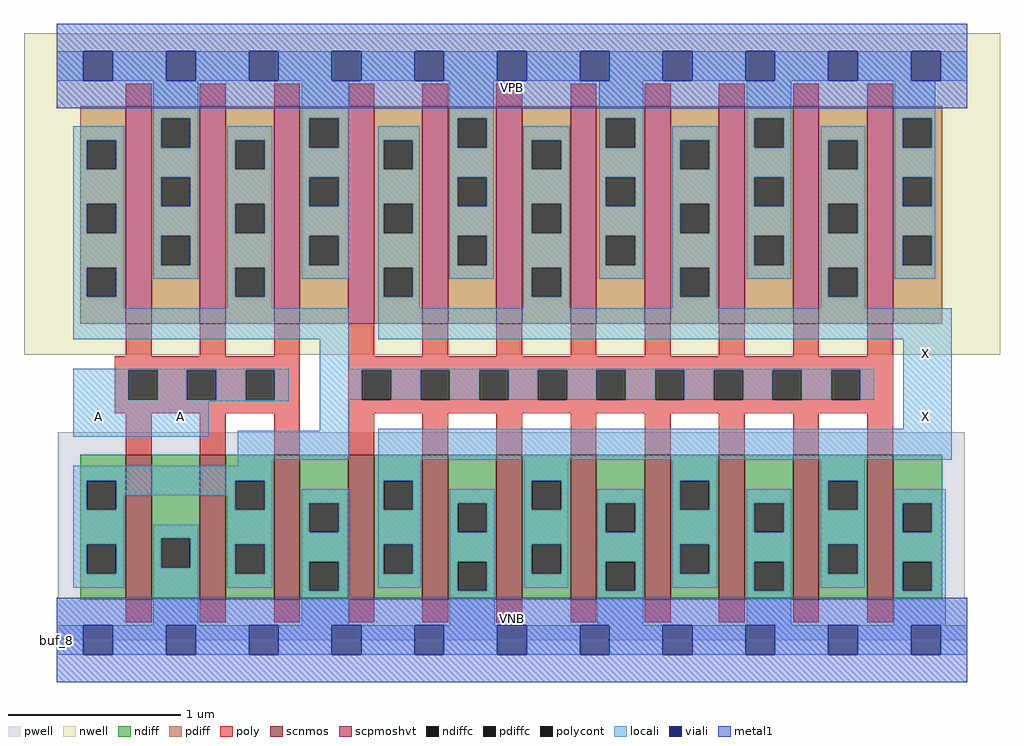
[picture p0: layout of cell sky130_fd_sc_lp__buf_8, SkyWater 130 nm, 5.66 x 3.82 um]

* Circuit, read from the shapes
.subckt sky130_fd_sc_lp__buf_8 A VGND VNB VPB VPWR X
XM1 VGND A n1 VNB sky130_fd_pr__nfet_01v8 w=0.84 l=0.15 m=3
XM2 X n1 VGND VNB sky130_fd_pr__nfet_01v8 w=0.84 l=0.15 m=8
XM3 VPWR A n1 VPB sky130_fd_pr__pfet_01v8_hvt w=1.26 l=0.15 m=3
XM4 X n1 VPWR VPB sky130_fd_pr__pfet_01v8_hvt w=1.26 l=0.15 m=8
.ends

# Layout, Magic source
magic
tech sky130A
magscale 1 2
<< nwell >>
rect -38 331 1094 704
<< pwell >>
rect 1 49 1053 241
rect 0 0 1056 49
<< scnmos >>
rect 80 47 110 215
rect 166 47 196 215
rect 252 47 282 215
rect 338 47 368 215
rect 424 47 454 215
rect 510 47 540 215
rect 596 47 626 215
rect 682 47 712 215
rect 768 47 798 215
rect 854 47 884 215
rect 940 47 970 215
<< scpmoshvt >>
rect 80 367 110 619
rect 166 367 196 619
rect 252 367 282 619
rect 338 367 368 619
rect 424 367 454 619
rect 510 367 540 619
rect 596 367 626 619
rect 682 367 712 619
rect 768 367 798 619
rect 854 367 884 619
rect 940 367 970 619
<< ndiff >>
rect 27 185 80 215
rect 27 151 35 185
rect 69 151 80 185
rect 27 111 80 151
rect 27 77 35 111
rect 69 77 80 111
rect 27 47 80 77
rect 110 118 166 215
rect 110 84 121 118
rect 155 84 166 118
rect 110 47 166 84
rect 196 185 252 215
rect 196 151 207 185
rect 241 151 252 185
rect 196 111 252 151
rect 196 77 207 111
rect 241 77 252 111
rect 196 47 252 77
rect 282 159 338 215
rect 282 125 293 159
rect 327 125 338 159
rect 282 91 338 125
rect 282 57 293 91
rect 327 57 338 91
rect 282 47 338 57
rect 368 185 424 215
rect 368 151 379 185
rect 413 151 424 185
rect 368 111 424 151
rect 368 77 379 111
rect 413 77 424 111
rect 368 47 424 77
rect 454 159 510 215
rect 454 125 465 159
rect 499 125 510 159
rect 454 91 510 125
rect 454 57 465 91
rect 499 57 510 91
rect 454 47 510 57
rect 540 185 596 215
rect 540 151 551 185
rect 585 151 596 185
rect 540 111 596 151
rect 540 77 551 111
rect 585 77 596 111
rect 540 47 596 77
rect 626 159 682 215
rect 626 125 637 159
rect 671 125 682 159
rect 626 91 682 125
rect 626 57 637 91
rect 671 57 682 91
rect 626 47 682 57
rect 712 185 768 215
rect 712 151 723 185
rect 757 151 768 185
rect 712 111 768 151
rect 712 77 723 111
rect 757 77 768 111
rect 712 47 768 77
rect 798 159 854 215
rect 798 125 809 159
rect 843 125 854 159
rect 798 91 854 125
rect 798 57 809 91
rect 843 57 854 91
rect 798 47 854 57
rect 884 185 940 215
rect 884 151 895 185
rect 929 151 940 185
rect 884 111 940 151
rect 884 77 895 111
rect 929 77 940 111
rect 884 47 940 77
rect 970 159 1027 215
rect 970 125 981 159
rect 1015 125 1027 159
rect 970 91 1027 125
rect 970 57 981 91
rect 1015 57 1027 91
rect 970 47 1027 57
<< pdiff >>
rect 27 580 80 619
rect 27 546 35 580
rect 69 546 80 580
rect 27 506 80 546
rect 27 472 35 506
rect 69 472 80 506
rect 27 432 80 472
rect 27 398 35 432
rect 69 398 80 432
rect 27 367 80 398
rect 110 605 166 619
rect 110 571 121 605
rect 155 571 166 605
rect 110 537 166 571
rect 110 503 121 537
rect 155 503 166 537
rect 110 469 166 503
rect 110 435 121 469
rect 155 435 166 469
rect 110 367 166 435
rect 196 580 252 619
rect 196 546 207 580
rect 241 546 252 580
rect 196 506 252 546
rect 196 472 207 506
rect 241 472 252 506
rect 196 432 252 472
rect 196 398 207 432
rect 241 398 252 432
rect 196 367 252 398
rect 282 605 338 619
rect 282 571 293 605
rect 327 571 338 605
rect 282 537 338 571
rect 282 503 293 537
rect 327 503 338 537
rect 282 469 338 503
rect 282 435 293 469
rect 327 435 338 469
rect 282 367 338 435
rect 368 580 424 619
rect 368 546 379 580
rect 413 546 424 580
rect 368 506 424 546
rect 368 472 379 506
rect 413 472 424 506
rect 368 432 424 472
rect 368 398 379 432
rect 413 398 424 432
rect 368 367 424 398
rect 454 605 510 619
rect 454 571 465 605
rect 499 571 510 605
rect 454 537 510 571
rect 454 503 465 537
rect 499 503 510 537
rect 454 469 510 503
rect 454 435 465 469
rect 499 435 510 469
rect 454 367 510 435
rect 540 580 596 619
rect 540 546 551 580
rect 585 546 596 580
rect 540 506 596 546
rect 540 472 551 506
rect 585 472 596 506
rect 540 432 596 472
rect 540 398 551 432
rect 585 398 596 432
rect 540 367 596 398
rect 626 605 682 619
rect 626 571 637 605
rect 671 571 682 605
rect 626 537 682 571
rect 626 503 637 537
rect 671 503 682 537
rect 626 469 682 503
rect 626 435 637 469
rect 671 435 682 469
rect 626 367 682 435
rect 712 580 768 619
rect 712 546 723 580
rect 757 546 768 580
rect 712 506 768 546
rect 712 472 723 506
rect 757 472 768 506
rect 712 432 768 472
rect 712 398 723 432
rect 757 398 768 432
rect 712 367 768 398
rect 798 605 854 619
rect 798 571 809 605
rect 843 571 854 605
rect 798 537 854 571
rect 798 503 809 537
rect 843 503 854 537
rect 798 469 854 503
rect 798 435 809 469
rect 843 435 854 469
rect 798 367 854 435
rect 884 580 940 619
rect 884 546 895 580
rect 929 546 940 580
rect 884 506 940 546
rect 884 472 895 506
rect 929 472 940 506
rect 884 432 940 472
rect 884 398 895 432
rect 929 398 940 432
rect 884 367 940 398
rect 970 605 1027 619
rect 970 571 981 605
rect 1015 571 1027 605
rect 970 537 1027 571
rect 970 503 981 537
rect 1015 503 1027 537
rect 970 469 1027 503
rect 970 435 981 469
rect 1015 435 1027 469
rect 970 367 1027 435
<< ndiffc >>
rect 35 151 69 185
rect 35 77 69 111
rect 121 84 155 118
rect 207 151 241 185
rect 207 77 241 111
rect 293 125 327 159
rect 293 57 327 91
rect 379 151 413 185
rect 379 77 413 111
rect 465 125 499 159
rect 465 57 499 91
rect 551 151 585 185
rect 551 77 585 111
rect 637 125 671 159
rect 637 57 671 91
rect 723 151 757 185
rect 723 77 757 111
rect 809 125 843 159
rect 809 57 843 91
rect 895 151 929 185
rect 895 77 929 111
rect 981 125 1015 159
rect 981 57 1015 91
<< pdiffc >>
rect 35 546 69 580
rect 35 472 69 506
rect 35 398 69 432
rect 121 571 155 605
rect 121 503 155 537
rect 121 435 155 469
rect 207 546 241 580
rect 207 472 241 506
rect 207 398 241 432
rect 293 571 327 605
rect 293 503 327 537
rect 293 435 327 469
rect 379 546 413 580
rect 379 472 413 506
rect 379 398 413 432
rect 465 571 499 605
rect 465 503 499 537
rect 465 435 499 469
rect 551 546 585 580
rect 551 472 585 506
rect 551 398 585 432
rect 637 571 671 605
rect 637 503 671 537
rect 637 435 671 469
rect 723 546 757 580
rect 723 472 757 506
rect 723 398 757 432
rect 809 571 843 605
rect 809 503 843 537
rect 809 435 843 469
rect 895 546 929 580
rect 895 472 929 506
rect 895 398 929 432
rect 981 571 1015 605
rect 981 503 1015 537
rect 981 435 1015 469
<< poly >>
rect 80 619 110 645
rect 166 619 196 645
rect 252 619 282 645
rect 338 619 368 645
rect 424 619 454 645
rect 510 619 540 645
rect 596 619 626 645
rect 682 619 712 645
rect 768 619 798 645
rect 854 619 884 645
rect 940 619 970 645
rect 80 329 110 367
rect 166 329 196 367
rect 252 329 282 367
rect 67 313 282 329
rect 67 279 83 313
rect 117 279 151 313
rect 185 279 219 313
rect 253 279 282 313
rect 67 263 282 279
rect 80 215 110 263
rect 166 215 196 263
rect 252 215 282 263
rect 338 329 368 367
rect 424 329 454 367
rect 510 329 540 367
rect 596 329 626 367
rect 682 329 712 367
rect 768 329 798 367
rect 854 329 884 367
rect 940 329 970 367
rect 338 313 970 329
rect 338 279 354 313
rect 388 279 422 313
rect 456 279 490 313
rect 524 279 558 313
rect 592 279 626 313
rect 660 279 694 313
rect 728 279 762 313
rect 796 279 830 313
rect 864 279 898 313
rect 932 279 970 313
rect 338 263 970 279
rect 338 215 368 263
rect 424 215 454 263
rect 510 215 540 263
rect 596 215 626 263
rect 682 215 712 263
rect 768 215 798 263
rect 854 215 884 263
rect 940 215 970 263
rect 80 21 110 47
rect 166 21 196 47
rect 252 21 282 47
rect 338 21 368 47
rect 424 21 454 47
rect 510 21 540 47
rect 596 21 626 47
rect 682 21 712 47
rect 768 21 798 47
rect 854 21 884 47
rect 940 21 970 47
<< polycont >>
rect 83 279 117 313
rect 151 279 185 313
rect 219 279 253 313
rect 354 279 388 313
rect 422 279 456 313
rect 490 279 524 313
rect 558 279 592 313
rect 626 279 660 313
rect 694 279 728 313
rect 762 279 796 313
rect 830 279 864 313
rect 898 279 932 313
<< locali >>
rect 0 649 31 683
rect 65 649 127 683
rect 161 649 223 683
rect 257 649 319 683
rect 353 649 415 683
rect 449 649 511 683
rect 545 649 607 683
rect 641 649 703 683
rect 737 649 799 683
rect 833 649 895 683
rect 929 649 991 683
rect 1025 649 1056 683
rect 112 605 164 649
rect 19 580 78 596
rect 19 546 35 580
rect 69 546 78 580
rect 19 506 78 546
rect 19 472 35 506
rect 69 472 78 506
rect 19 432 78 472
rect 19 398 35 432
rect 69 398 78 432
rect 112 571 121 605
rect 155 571 164 605
rect 284 605 339 649
rect 112 537 164 571
rect 112 503 121 537
rect 155 503 164 537
rect 112 469 164 503
rect 112 435 121 469
rect 155 435 164 469
rect 112 419 164 435
rect 198 580 250 596
rect 198 546 207 580
rect 241 546 250 580
rect 198 506 250 546
rect 198 472 207 506
rect 241 472 250 506
rect 198 432 250 472
rect 19 385 78 398
rect 198 398 207 432
rect 241 398 250 432
rect 284 571 293 605
rect 327 571 339 605
rect 455 605 507 649
rect 284 537 339 571
rect 284 503 293 537
rect 327 503 339 537
rect 284 469 339 503
rect 284 435 293 469
rect 327 435 339 469
rect 284 419 339 435
rect 373 580 421 596
rect 373 546 379 580
rect 413 546 421 580
rect 373 506 421 546
rect 373 472 379 506
rect 413 472 421 506
rect 373 432 421 472
rect 198 385 250 398
rect 373 398 379 432
rect 413 398 421 432
rect 455 571 465 605
rect 499 571 507 605
rect 629 605 680 649
rect 455 537 507 571
rect 455 503 465 537
rect 499 503 507 537
rect 455 469 507 503
rect 455 435 465 469
rect 499 435 507 469
rect 455 419 507 435
rect 541 580 595 596
rect 541 546 551 580
rect 585 546 595 580
rect 541 506 595 546
rect 541 472 551 506
rect 585 472 595 506
rect 541 432 595 472
rect 373 385 421 398
rect 541 398 551 432
rect 585 398 595 432
rect 629 571 637 605
rect 671 571 680 605
rect 800 605 852 649
rect 629 537 680 571
rect 629 503 637 537
rect 671 503 680 537
rect 629 469 680 503
rect 629 435 637 469
rect 671 435 680 469
rect 629 419 680 435
rect 714 580 766 596
rect 714 546 723 580
rect 757 546 766 580
rect 714 506 766 546
rect 714 472 723 506
rect 757 472 766 506
rect 714 432 766 472
rect 541 385 595 398
rect 714 398 723 432
rect 757 398 766 432
rect 800 571 809 605
rect 843 571 852 605
rect 972 605 1019 649
rect 800 537 852 571
rect 800 503 809 537
rect 843 503 852 537
rect 800 469 852 503
rect 800 435 809 469
rect 843 435 852 469
rect 800 419 852 435
rect 886 580 938 596
rect 886 546 895 580
rect 929 546 938 580
rect 886 506 938 546
rect 886 472 895 506
rect 929 472 938 506
rect 886 432 938 472
rect 714 385 766 398
rect 886 398 895 432
rect 929 398 938 432
rect 972 571 981 605
rect 1015 571 1019 605
rect 972 537 1019 571
rect 972 503 981 537
rect 1015 503 1019 537
rect 972 469 1019 503
rect 972 435 981 469
rect 1015 435 1019 469
rect 972 419 1019 435
rect 886 385 938 398
rect 19 349 339 385
rect 373 349 1038 385
rect 305 315 339 349
rect 19 313 269 315
rect 19 279 83 313
rect 117 279 151 313
rect 185 279 219 313
rect 253 279 269 313
rect 19 277 269 279
rect 305 313 948 315
rect 305 279 354 313
rect 388 279 422 313
rect 456 279 490 313
rect 524 279 558 313
rect 592 279 626 313
rect 660 279 694 313
rect 728 279 762 313
rect 796 279 830 313
rect 864 279 898 313
rect 932 279 948 313
rect 19 236 176 277
rect 305 243 339 279
rect 982 245 1038 349
rect 210 209 339 243
rect 373 209 1038 245
rect 210 202 250 209
rect 19 185 250 202
rect 19 151 35 185
rect 69 168 207 185
rect 69 151 78 168
rect 19 111 78 151
rect 198 151 207 168
rect 241 151 250 185
rect 373 185 422 209
rect 19 77 35 111
rect 69 77 78 111
rect 19 61 78 77
rect 112 118 164 134
rect 112 84 121 118
rect 155 84 164 118
rect 112 17 164 84
rect 198 111 250 151
rect 198 77 207 111
rect 241 77 250 111
rect 198 61 250 77
rect 284 159 339 175
rect 284 125 293 159
rect 327 125 339 159
rect 284 91 339 125
rect 284 57 293 91
rect 327 57 339 91
rect 373 151 379 185
rect 413 151 422 185
rect 542 185 593 209
rect 373 111 422 151
rect 373 77 379 111
rect 413 77 422 111
rect 373 61 422 77
rect 456 159 508 175
rect 456 125 465 159
rect 499 125 508 159
rect 456 91 508 125
rect 284 17 339 57
rect 456 57 465 91
rect 499 57 508 91
rect 542 151 551 185
rect 585 151 593 185
rect 714 185 766 209
rect 542 111 593 151
rect 542 77 551 111
rect 585 77 593 111
rect 542 61 593 77
rect 627 159 680 175
rect 627 125 637 159
rect 671 125 680 159
rect 627 91 680 125
rect 456 17 508 57
rect 627 57 637 91
rect 671 57 680 91
rect 714 151 723 185
rect 757 151 766 185
rect 886 185 937 209
rect 714 111 766 151
rect 714 77 723 111
rect 757 77 766 111
rect 714 61 766 77
rect 800 159 852 175
rect 800 125 809 159
rect 843 125 852 159
rect 800 91 852 125
rect 627 17 680 57
rect 800 57 809 91
rect 843 57 852 91
rect 886 151 895 185
rect 929 151 937 185
rect 886 111 937 151
rect 886 77 895 111
rect 929 77 937 111
rect 886 61 937 77
rect 971 159 1031 175
rect 971 125 981 159
rect 1015 125 1031 159
rect 971 91 1031 125
rect 800 17 852 57
rect 971 57 981 91
rect 1015 57 1031 91
rect 971 17 1031 57
rect 0 -17 31 17
rect 65 -17 127 17
rect 161 -17 223 17
rect 257 -17 319 17
rect 353 -17 415 17
rect 449 -17 511 17
rect 545 -17 607 17
rect 641 -17 703 17
rect 737 -17 799 17
rect 833 -17 895 17
rect 929 -17 991 17
rect 1025 -17 1056 17
<< viali >>
rect 31 649 65 683
rect 127 649 161 683
rect 223 649 257 683
rect 319 649 353 683
rect 415 649 449 683
rect 511 649 545 683
rect 607 649 641 683
rect 703 649 737 683
rect 799 649 833 683
rect 895 649 929 683
rect 991 649 1025 683
rect 31 -17 65 17
rect 127 -17 161 17
rect 223 -17 257 17
rect 319 -17 353 17
rect 415 -17 449 17
rect 511 -17 545 17
rect 607 -17 641 17
rect 703 -17 737 17
rect 799 -17 833 17
rect 895 -17 929 17
rect 991 -17 1025 17
<< metal1 >>
rect 0 683 1056 715
rect 0 649 31 683
rect 65 649 127 683
rect 161 649 223 683
rect 257 649 319 683
rect 353 649 415 683
rect 449 649 511 683
rect 545 649 607 683
rect 641 649 703 683
rect 737 649 799 683
rect 833 649 895 683
rect 929 649 991 683
rect 1025 649 1056 683
rect 0 617 1056 649
rect 0 17 1056 49
rect 0 -17 31 17
rect 65 -17 127 17
rect 161 -17 223 17
rect 257 -17 319 17
rect 353 -17 415 17
rect 449 -17 511 17
rect 545 -17 607 17
rect 641 -17 703 17
rect 737 -17 799 17
rect 833 -17 895 17
rect 929 -17 991 17
rect 1025 -17 1056 17
rect 0 -49 1056 -17
<< labels >>
flabel pwell s 0 0 1056 49 0 FreeSans 200 0 0 0 VNB
port 3 nsew ground bidirectional
flabel nwell s 0 617 1056 666 0 FreeSans 200 0 0 0 VPB
port 4 nsew power bidirectional
rlabel comment s 0 0 0 0 4 buf_8
flabel metal1 s 0 617 1056 666 0 FreeSans 340 0 0 0 VPWR
port 5 nsew power bidirectional
flabel metal1 s 0 0 1056 49 0 FreeSans 340 0 0 0 VGND
port 2 nsew ground bidirectional
flabel locali s 31 242 65 276 0 FreeSans 340 0 0 0 A
port 1 nsew signal input
flabel locali s 127 242 161 276 0 FreeSans 340 0 0 0 A
port 1 nsew signal input
flabel locali s 991 242 1025 276 0 FreeSans 340 0 0 0 X
port 6 nsew signal output
flabel locali s 991 316 1025 350 0 FreeSans 340 0 0 0 X
port 6 nsew signal output
<< properties >>
string LEFsite unit
string LEFclass CORE
string FIXED_BBOX 0 0 1056 666
string GDS_FILE $PDKPATH/libs.ref/sky130_fd_sc_lp/gds/sky130_fd_sc_lp.gds
string LEFsymmetry X Y R90
string GDS_END 6027014
string GDS_START 6017362
<< end >>
